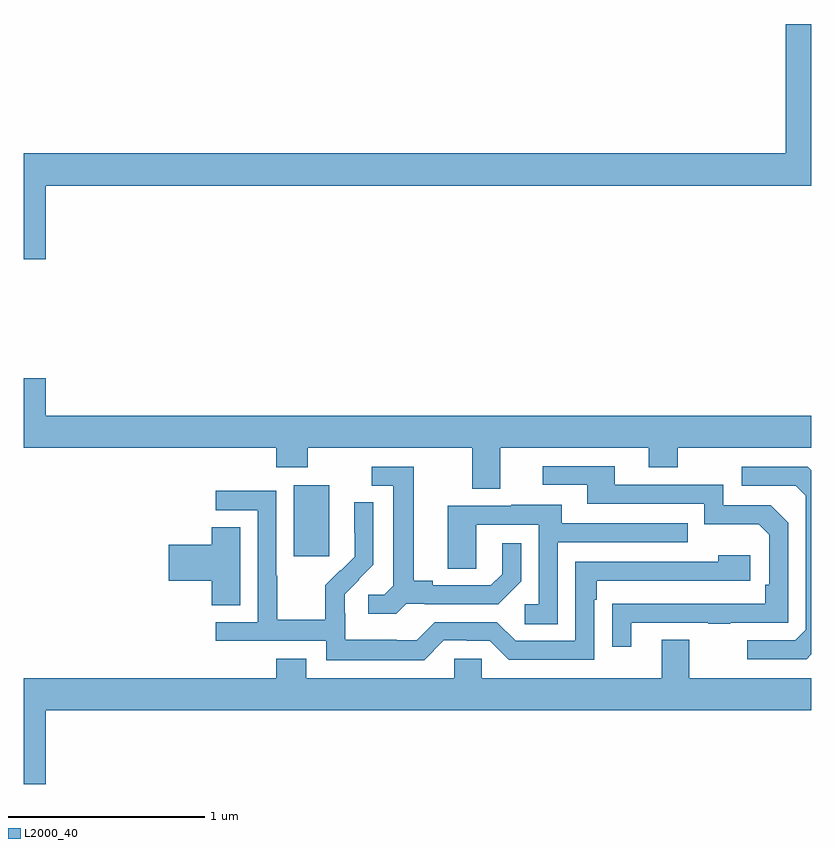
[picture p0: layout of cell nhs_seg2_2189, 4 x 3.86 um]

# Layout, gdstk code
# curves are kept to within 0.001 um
import gdstk
lib = gdstk.Library(unit=1e-6, precision=1e-09)
def R(c, l, rs):  # rectangles x0, y0, x1, y1
    for r in rs: c.add(gdstk.rectangle(r[:2], r[2:], *l))
def P(c, l, *ps):  # polygons
    for p in ps: c.add(gdstk.Polygon(p, *l))
L2000_40 = (2000, 40)

nhs_seg2_2189 = lib.new_cell('nhs_seg2_2189')
R(nhs_seg2_2189, L2000_40, [(226.373,635.097,226.552,635.458)])
P(nhs_seg2_2189, L2000_40, [(225.112,636.98),(229,636.98),(229,637.8),(228.869,637.8),(228.869,637.144),(225,637.144),(225,636.606),(225.112,636.606)],
  [(227.419,635.648),(228.173,635.648),(228.173,635.549),(228.321,635.549),(228.321,635.648),(229,635.648),(229,635.812),(225.112,635.812),(225.112,636.001),(225,636.001),(225,635.648),(226.283,635.648),(226.283,635.549),(226.443,635.549),(226.443,635.648),(227.279,635.648),(227.279,635.44),(227.419,635.44)],
  [(228.085,634.761),(228.475,634.761),(228.475,634.756),(228.587,634.756),(228.587,634.761),(228.882,634.761),(228.882,635.268),(228.792,635.358),(228.552,635.358),(228.552,635.46),(228.001,635.46),(228.001,635.556),(227.637,635.556),(227.637,635.46),(227.861,635.46),(227.861,635.364),(228.456,635.364),(228.456,635.261),(228.733,635.261),(228.786,635.208),(228.786,634.954),(228.766,634.954),(228.766,634.857),(227.989,634.856),(227.989,634.638),(228.085,634.638)],
  [(229,634.6),(229,635.534),(228.981,635.553),(228.645,635.553),(228.645,635.457),(228.921,635.457),(228.972,635.406),(228.972,634.725),(228.918,634.671),(228.675,634.671),(228.675,634.575),(228.975,634.575)],
  [(226.944,634.857),(227.038,634.857),(227.038,634.854),(227.41,634.854),(227.526,634.97),(227.526,635.164),(227.429,635.164),(227.429,635.007),(227.372,634.95),(227.077,634.95),(227.077,634.973),(226.981,634.973),(226.981,635.553),(226.767,635.553),(226.767,635.457),(226.877,635.457),(226.877,634.949),(226.83,634.902),(226.749,634.902),(226.749,634.805),(226.892,634.805)],
  [(227.133,634.671),(227.249,634.671),(227.249,634.668),(227.367,634.668),(227.463,634.572),(227.898,634.572),(227.898,634.877),(227.911,634.877),(227.911,634.974),(228.688,634.974),(228.688,635.104),(228.527,635.104),(228.527,635.07),(227.802,635.07),(227.802,634.668),(227.499,634.668),(227.403,634.764),(227.088,634.764),(226.995,634.671),(226.895,634.671),(226.895,634.675),(226.632,634.675),(226.632,634.809),(226.63,634.809),(226.63,634.906),(226.776,635.054),(226.776,635.372),(226.68,635.372),(226.68,635.218),(226.682,635.218),(226.682,635.096),(226.611,635.025),(226.608,635.028),(226.531,634.951),(226.531,634.777),(226.287,634.777),(226.287,635),(226.284,635),(226.284,635.43),(225.975,635.43),(225.975,635.331),(226.188,635.331),(226.188,634.764),(225.975,634.764),(225.975,634.668),(226.536,634.668),(226.536,634.571),(227.033,634.571)],
  [(227.712,635.169),(228.371,635.169),(228.371,635.265),(227.731,635.265),(227.731,635.359),(227.477,635.359),(227.477,635.355),(227.153,635.355),(227.153,635.035),(227.298,635.035),(227.298,635.259),(227.616,635.259),(227.616,634.854),(227.544,634.854),(227.544,634.753),(227.712,634.753)],
  [(226.099,635.246),(225.956,635.246),(225.956,635.156),(225.738,635.156),(225.738,634.973),(225.956,634.973),(225.956,634.849),(226.099,634.849)],
  [(225.112,634.316),(229,634.316),(229,634.48),(228.379,634.48),(228.379,634.675),(228.239,634.675),(228.239,634.48),(227.325,634.48),(227.325,634.578),(227.187,634.578),(227.187,634.48),(226.435,634.48),(226.435,634.579),(226.283,634.579),(226.283,634.48),(225,634.48),(225,633.942),(225.112,633.942)])

lib.write_gds('nhs_seg2_2189.gds')
